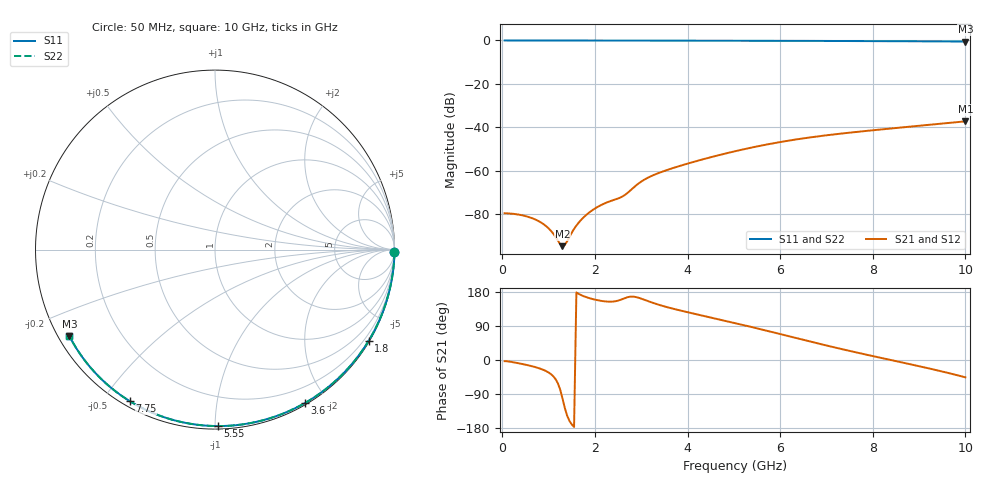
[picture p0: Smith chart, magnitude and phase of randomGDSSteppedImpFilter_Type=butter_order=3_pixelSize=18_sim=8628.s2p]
! freq	dB(S11)	phase(S11)	dB(S12)	phase(S12)
!  dB(S21)	phase(S21)	dB(S22)	phase(S22)
!S-par simulation data
#  GHz  S  DB  R 50
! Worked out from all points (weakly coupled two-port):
!   200 points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, 50 MHz to 10 GHz, reference 50 ohm
!   highest |S21| = -37.29 dB at 10 GHz (marker M1); lowest = -94.8 dB at 1.3 GHz (marker M2)
!   lowest |S11| = -0.5 dB at 10 GHz (marker M3), VSWR 34.54, Z = 1.56 - j13.7 ohm
!   |S11| at or under -10 dB: nowhere
!   |S22| runs from -0.5 to 0.0 dB; largest |S21 - S12| = 0
!   S11 on the Smith chart (normalised r, x): 50 MHz: open; 1.8 GHz: 0.03, -3.65; 3.6 GHz: 0.02, -1.74; 5.55 GHz: 0.02, -1.02; 7.75 GHz: 0.02, -0.58; 10 GHz: 0.03, -0.27
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0.05  -0.00 -0.9  -79.64 -3.1  -79.64 -3.1  -0.00 -0.9
0.3  -0.00 -5.2  -80.08 -7.3  -80.08 -7.3  -0.00 -5.2
0.65  -0.01 -11.2  -81.96 -16.7  -81.96 -16.7  -0.01 -11.2
1.3  -0.03 -22.3  -94.81 -101.4  -94.81 -101.4  -0.03 -22.3
1.75  -0.04 -29.8  -81.65 168.7  -81.65 168.7  -0.04 -29.8
1.8  -0.04 -30.7  -80.65 166.3  -80.65 166.3  -0.04 -30.7
1.85  -0.04 -31.5  -79.75 164.3  -79.75 164.3  -0.04 -31.5
2  -0.04 -34.0  -77.46 159.3  -77.46 159.3  -0.04 -34.0
2.15  -0.05 -36.5  -75.67 155.7  -75.67 155.7  -0.05 -36.5
2.6  -0.06 -43.8  -71.84 161.1  -71.84 161.1  -0.06 -43.8
3  -0.07 -50.3  -65.05 162.0  -65.05 162.0  -0.07 -50.3
3.15  -0.07 -52.7  -63.19 155.2  -63.19 155.2  -0.07 -52.7
3.4  -0.07 -56.6  -60.90 145.0  -60.90 145.0  -0.07 -56.6
3.6  -0.08 -59.8  -59.40 138.1  -59.40 138.1  -0.08 -59.8
4.3  -0.10 -70.5  -54.96 117.8  -54.96 117.8  -0.10 -70.5
5.05  -0.13 -81.7  -50.94 96.8  -50.94 96.8  -0.13 -81.7
5.55  -0.15 -89.0  -48.63 82.1  -48.63 82.1  -0.14 -89.0
6.7  -0.20 -105.1  -44.53 47.2  -44.53 47.2  -0.20 -105.1
7.75  -0.28 -119.4  -41.93 17.1  -41.93 17.1  -0.28 -119.4
8.35  -0.33 -127.3  -40.66 1.0  -40.66 1.0  -0.33 -127.3
9.2  -0.41 -138.6  -38.89 -21.8  -38.89 -21.8  -0.41 -138.6
10  -0.50 -149.2  -37.29 -45.8  -37.29 -45.8  -0.50 -149.2
